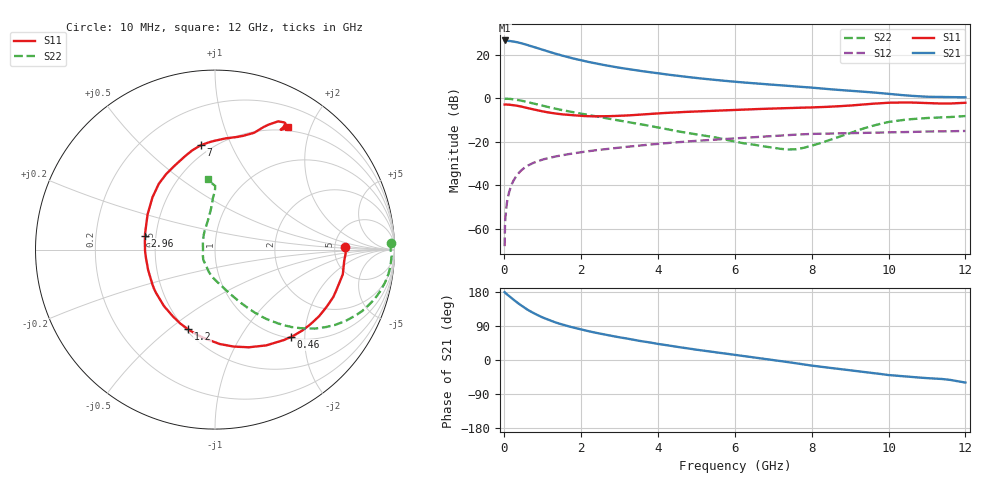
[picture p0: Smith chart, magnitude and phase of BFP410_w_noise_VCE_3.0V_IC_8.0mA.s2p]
! Infineon Technologies  Discrete & RF Semiconductors
! BFP410
! VCE =  3.0 V,  IC =  8.0 mA
! Common Emitter S-Parameters:  Nov 2015
# GHz  S  MA  R  50
!  f  S11  S21  S12  S22
! GHz  MAG  ANG  MAG  ANG  MAG  ANG  MAG  ANG
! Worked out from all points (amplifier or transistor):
!   243 points, 10 MHz to 12 GHz, reference 50 ohm
!   highest |S21| = 26.7 dB at 10 MHz (marker M1)
!   |S21| within 3 dB of that: start of sweep to 769.8 MHz
!   unconditionally stable (mu >= 1): 2.627 GHz to end of sweep
!   at 240 MHz: K = 0.15, MSG = 32.0 dB, |S12| = -37.9 dB
!   at 1.84 GHz: K = 0.78, MSG = 21.7 dB, |S12| = -25.2 dB
!   at 12 GHz: K = 1.04, MAG = 6.4 dB, |S12| = -15.0 dB
!   lowest NFmin = 1.18 dB at 900 MHz
!   S11 on the Smith chart (normalised r, x): 10 MHz: 6.23, +0.36; 460 MHz: 1.03, -1.72; 1.2 GHz: 0.51, -0.59; 2.96 GHz: 0.43, +0.08; 7 GHz: 0.44, +0.78; 12 GHz: 0.45, +1.67
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0.01  0.7244 1.1  21.56 179.1  0.0004 91.8  0.9828 2.1
0.025  0.7272 -2.2  21.35 177.3  0.0015 83.5  0.9791 -0.4
0.065  0.7226 -6.9  21.16 173.8  0.0037 84.8  0.9837 -3.1
0.15  0.7158 -16.4  20.9 166.8  0.0081 81.5  0.9758 -8.0
0.26  0.6965 -28.2  20.17 157.7  0.0138 76.5  0.9506 -13.9
0.38  0.6677 -40.8  19.21 148.5  0.0194 71.5  0.9122 -19.6
0.46  0.6455 -48.8  18.44 142.8  0.0228 68.6  0.8831 -23.2
0.6  0.6051 -61.9  17 133.2  0.028 63.8  0.8279 -28.8
0.7  0.576 -70.9  15.99 127.3  0.0313 60.9  0.7884 -32.2
0.92  0.5215 -88.5  13.87 115.9  0.0373 55.9  0.7067 -38.5
1.2  0.4687 -108.6  11.6 104.1  0.0436 51.6  0.6167 -44.7
1.4  0.4422 -121.2  10.27 97.0  0.0474 49.3  0.5635 -48.1
1.58  0.4251 -131.1  9.302 91.5  0.0506 47.7  0.5232 -50.6
2.02  0.3965 -152.8  7.469 80.2  0.0582 44.6  0.4444 -55.7
2.4  0.3875 -170.0  6.343 71.5  0.0646 42.2  0.3858 -59.7
2.96  0.3978 168.7  5.155 60.6  0.0735 38.8  0.3138 -65.5
4.1  0.4587 138.1  3.686 41.1  0.0918 31.9  0.2068 -79.5
6.1  0.5456 108.0  2.381 12.2  0.1218 18.0  0.0978 -123.3
7  0.5875 97.6  2.064 -0.3  0.1368 11.5  0.0737 -157.0
8.2  0.6303 81.6  1.709 -17.3  0.154 -0.6  0.0924 134.7
10.2  0.8016 62.6  1.228 -41.4  0.1661 -15.7  0.3041 91.3
12  0.795 59.1  1.062 -59.5  0.1788 -30.8  0.3931 95.9
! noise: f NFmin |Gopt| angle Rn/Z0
0.45  1.21  0.12  -6  0.18
0.9  1.18  0.11  12  0.17
1.8  1.32  0.04  55  0.17
2.4  1.3  0.01  -67  0.19
5.5  2.19  0.33  -117  0.24
10  3.37  0.67  -50  1.8
